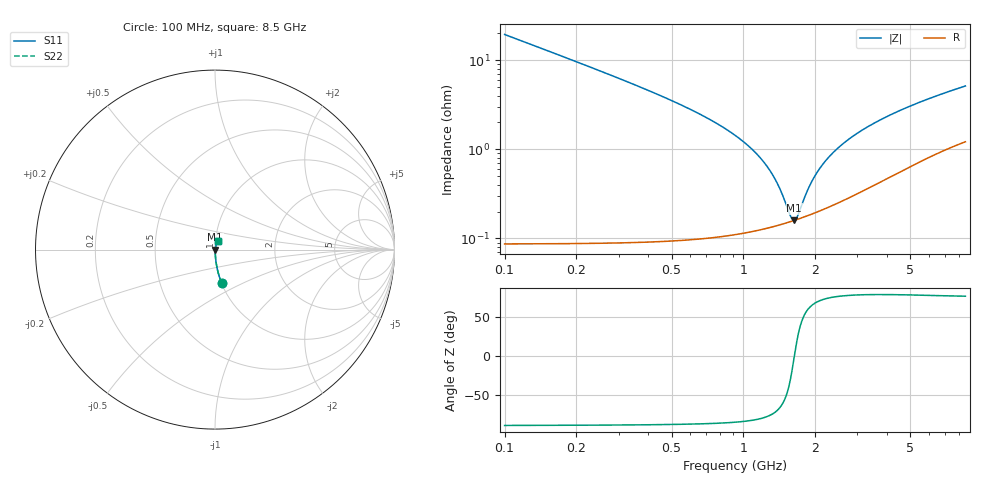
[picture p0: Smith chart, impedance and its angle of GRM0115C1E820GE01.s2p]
!Murata Part Number: GRM0115C1E820GE01
!These Parameters are Measured in Series Mode Connection
!Data Generated on Mar 30, 2021
!  o--ll--o
!Port1  Port2
!  o------o
!Operation Temp=25[degC], DC Bias Voltage=0[V]
!Freq. Start=100[MHz] Stop=9[GHz] 401[Steps]
# Hz S RI R 50
!Freq.(Hz) S11(Real) S11(Imag) S21(Real) S21(Imag) S12(Real) S12(Imag) S22(Real) S22(Imag)
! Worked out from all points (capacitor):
!   401 points, 100 MHz to 8.5 GHz, reference 50 ohm
!   read as one part in series: C = 82 pF near 142 MHz
!   lowest |Z| = 160 mohm at 1.633 GHz (marker M1)
!   series resonance near 1.635 GHz, so ESL is about 120 pH
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1e8  0.0368 -0.1861  0.9632 0.1861  0.9632 0.1861  0.0368 -0.1861
2.26e8  0.00791 -0.0835  0.9921 0.0835  0.9921 0.0835  0.00791 -0.0835
2.89e8  0.00509 -0.0647  0.9949 0.0647  0.9949 0.0647  0.00509 -0.0647
3.73e8  0.00332 -0.0491  0.9967 0.0491  0.9967 0.0491  0.00332 -0.0491
5.62e8  0.00188 -0.0303  0.9981 0.0303  0.9981 0.0303  0.00188 -0.0303
1.003e9  0.00129 -0.012  0.9987 0.012  0.9987 0.012  0.00129 -0.012
1.192e9  0.00132 -0.00757  0.9987 0.00757  0.9987 0.00757  0.00132 -0.00757
1.36e9  0.00139 -0.00436  0.9986 0.00436  0.9986 0.00436  0.00139 -0.00436
1.507e9  0.00149 -0.00192  0.9985 0.00192  0.9985 0.00192  0.00149 -0.00192
1.57e9  0.00154 -0.000956  0.9985 0.000956  0.9985 0.000956  0.00154 -0.000956
1.633e9  0.00159 -3.38e-05  0.9984 3.38e-05  0.9984 3.38e-05  0.00159 -3.38e-05
1.696e9  0.00165 0.000852  0.9984 -0.000852  0.9984 -0.000852  0.00165 0.000852
1.822e9  0.00177 0.00253  0.9982 -0.00253  0.9982 -0.00253  0.00177 0.00253
1.927e9  0.00188 0.00384  0.9981 -0.00384  0.9981 -0.00384  0.00188 0.00384
2.137e9  0.00212 0.00629  0.9979 -0.00629  0.9979 -0.00629  0.00212 0.00629
2.473e9  0.00257 0.00982  0.9974 -0.00982  0.9974 -0.00982  0.00257 0.00982
2.914e9  0.00324 0.014  0.9968 -0.014  0.9968 -0.014  0.00324 0.014
3.523e9  0.00429 0.019  0.9957 -0.019  0.9957 -0.019  0.00429 0.019
4.3e9  0.00578 0.0248  0.9942 -0.0248  0.9942 -0.0248  0.00578 0.0248
5.707e9  0.00871 0.0338  0.9913 -0.0338  0.9913 -0.0338  0.00871 0.0338
7.114e9  0.0117 0.0416  0.9883 -0.0416  0.9883 -0.0416  0.0117 0.0416
8.5e9  0.0144 0.0484  0.9856 -0.0484  0.9856 -0.0484  0.0144 0.0484
